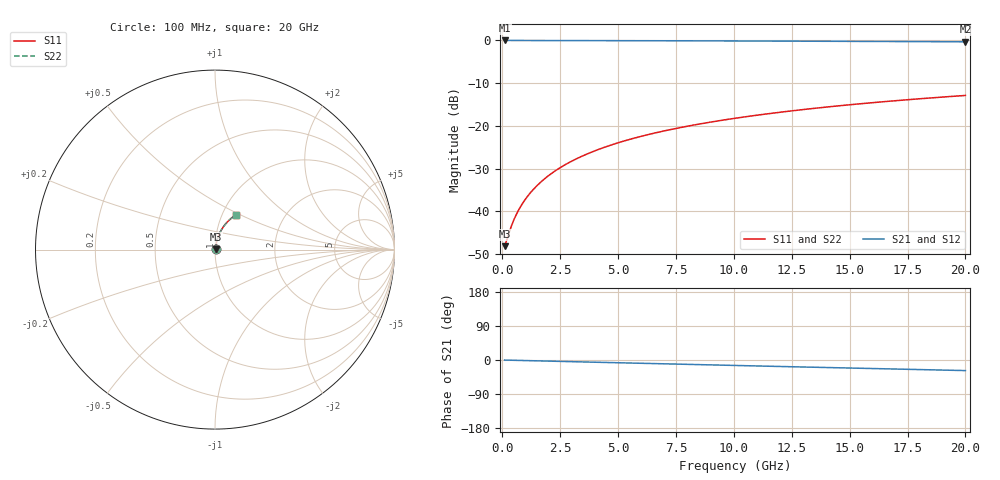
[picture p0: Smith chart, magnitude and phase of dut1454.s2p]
! Touchstone file exported from HFSS 2026.1.0
!  File:  C:/ffzhzh/LocalFiles/Ansys_Project_Files/temp_train_TMRDL_1454_1783167258_18472.aedt
!  Generated:  08:15:27 PM Jul  4, 2026
!  Design:  TMRDL
!  Project:  temp_train_TMRDL_1454_1783167258_18472
! Variables:
!  h_bsmrdl = 2um
!  h_ox = 20um
!  h_rdl = 5um
!  h_sub = 80um
!  h_tmrdl = 3.67um
!  h_tsv = 80um
!  h_via = 3um
!  l_bsmrdl = 300um
!  l_sub = 837.25um
!  l_tmrdl = 437.25um
!  m_sub = 200um
!  pitch = 23.98um
!  r_tsv = 6um
!  s_tmrdl = 10um
!  w_bsmrdl = 18um
!  w_sub = 500um
!  w_tmrdl = 11.93um
!  x_tsv_center1 = 443.215um
!  x_tsv_center2 = 761.215um
!  x_tsv_center3 = 1210.395um
!  x_tsv_center4 = 1528.395um
!  x_tsv_center5 = 1977.575um
!  x_tsv_center6 = 2295.575um
# GHz S MA R 50.000000
! Terminal data exported
! Port[1] = TM_RDL1_1_T1
! Port[2] = TM_RDL1_1_T2
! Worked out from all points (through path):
!   200 points, 100 MHz to 20 GHz, reference 50 ohm
!   highest |S21| = -0.03 dB at 100 MHz (marker M1); lowest = -0.3 dB at 20 GHz (marker M2)
!   group delay of S21, straight-line fit = 3.87 ps
!   lowest |S11| = -48.2 dB at 100 MHz (marker M3), VSWR 1.01, Z = 50.4 + j0.144 ohm
!   |S11| at or under -10 dB: start of sweep to end of sweep
!   |S22| runs from -48.2 to -12.9 dB; largest |S21 - S12| = 2.1e-15
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0.1  0.00391 21.5  0.9964 -0.2  0.9964 -0.2  0.00391 21.5
! Gamma 0 0 0 0
! Port Impedance 50 0 50 0
0.4  0.006805 54.1  0.996 -0.6  0.996 -0.6  0.006805 54.1
0.5  0.007951 58.7  0.9959 -0.8  0.9959 -0.8  0.007951 58.7
0.6  0.009115 62.2  0.9958 -0.9  0.9958 -0.9  0.009114 62.2
0.7  0.01029 64.8  0.9958 -1.1  0.9958 -1.1  0.01029 64.8
0.9  0.01267 68.7  0.9956 -1.3  0.9956 -1.3  0.01267 68.7
1.1  0.01508 71.3  0.9955 -1.6  0.9955 -1.6  0.01508 71.3
1.3  0.01752 73.2  0.9954 -1.9  0.9954 -1.9  0.01752 73.2
1.7  0.02245 75.5  0.9951 -2.5  0.9951 -2.5  0.02245 75.5
2.2  0.02866 77.1  0.9948 -3.2  0.9948 -3.2  0.02866 77.1
2.8  0.03614 77.8  0.9943 -4.1  0.9943 -4.1  0.03614 77.8
3.5  0.04484 78.0  0.9936 -5.1  0.9936 -5.1  0.04484 78.0
4.2  0.05349 77.7  0.9928 -6.1  0.9928 -6.1  0.05349 77.7
5  0.06329 77.1  0.9918 -7.3  0.9918 -7.3  0.06329 77.1
5.9  0.07418 76.2  0.9905 -8.6  0.9905 -8.6  0.07418 76.2
6.8  0.08493 75.2  0.9891 -9.9  0.9891 -9.9  0.08492 75.2
8.3  0.1025 73.4  0.9866 -12.0  0.9866 -12.0  0.1025 73.5
10.1  0.1231 71.2  0.9832 -14.5  0.9832 -14.5  0.1231 71.2
11.7  0.1409 69.2  0.98 -16.7  0.98 -16.7  0.1409 69.2
13.4  0.1593 67.1  0.9764 -19.0  0.9764 -19.0  0.1593 67.1
16.7  0.1938 62.9  0.9689 -23.5  0.9689 -23.5  0.1938 62.9
20  0.2265 58.8  0.9609 -27.9  0.9609 -27.9  0.2265 58.8
